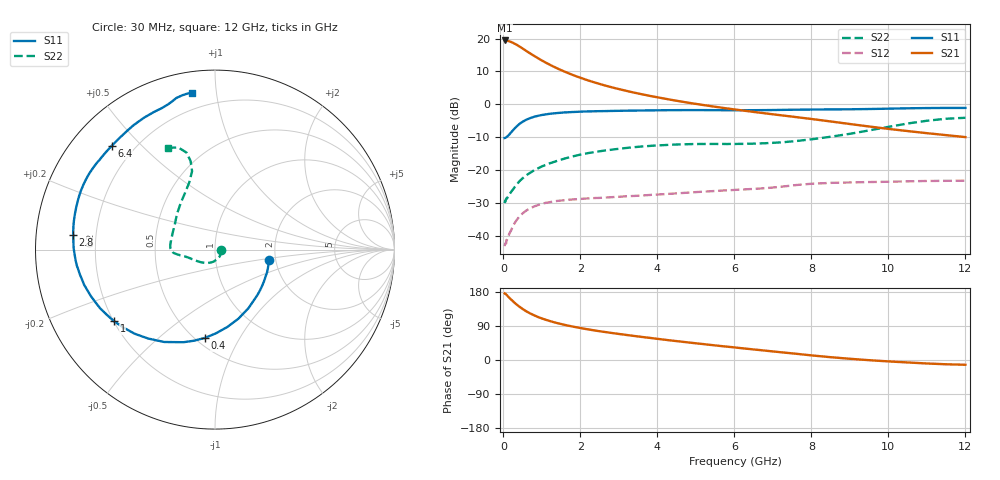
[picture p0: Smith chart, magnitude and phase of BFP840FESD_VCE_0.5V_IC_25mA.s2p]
! Infineon Technologies  Discrete & RF Semiconductors
! BFP840FESD
! VCE =  0.5 V,  IC =  25 mA
! Common Emitter S-Parameters:  May 2012
# GHz  S  MA  R  50
!  f  S11  S21  S12  S22
! GHz  MAG  ANG  MAG  ANG  MAG  ANG  MAG  ANG
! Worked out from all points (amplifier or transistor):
!   103 points, 30 MHz to 12 GHz, reference 50 ohm
!   highest |S21| = 19.4 dB at 30 MHz (marker M1)
!   |S21| within 3 dB of that: start of sweep to 569.1 MHz
!   unconditionally stable (mu >= 1): start of sweep to end of sweep
!   at 400 MHz: K = 2.58, MAG = 19.0 dB, |S12| = -34.3 dB
!   at 3.7 GHz: K = 2.89, MAG = 7.7 dB, |S12| = -27.6 dB
!   at 12 GHz: K = 3.53, MAG = -1.8 dB, |S12| = -23.2 dB
!   S11 on the Smith chart (normalised r, x): 30 MHz: 1.85, -0.23; 400 MHz: 0.56, -0.72; 1 GHz: 0.20, -0.31; 2.8 GHz: 0.11, +0.05; 6.4 GHz: 0.12, +0.41; 12 GHz: 0.11, +0.86
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0.03  0.308 -10.5  9.362 175.8  0.007 14.8  0.0316 0.7
0.04  0.3086 -13.8  9.334 174.8  0.0076 16.5  0.0336 -4.2
0.05  0.3106 -17.5  9.285 175.0  0.0077 16.7  0.0331 -9.6
0.13  0.3379 -42.0  9.166 166.6  0.0098 34.0  0.0404 -38.4
0.25  0.4064 -71.3  8.604 154.7  0.0144 42.9  0.0512 -69.3
0.35  0.4664 -89.3  8.025 145.8  0.0177 44.0  0.0607 -88.3
0.4  0.4954 -96.6  7.668 141.8  0.0193 43.3  0.0664 -95.3
0.5  0.5451 -108.8  7.05 134.5  0.0221 41.7  0.0754 -107.7
0.7  0.6198 -126.9  5.919 122.6  0.0265 37.9  0.0918 -126.4
0.9  0.6706 -139.7  5.018 113.4  0.0296 34.1  0.1069 -139.4
1  0.6901 -144.7  4.638 109.6  0.0308 32.6  0.1141 -144.3
1.2  0.7189 -153.0  4.014 103.0  0.0326 30.1  0.127 -151.9
1.4  0.739 -159.6  3.518 97.3  0.0341 27.9  0.139 -157.7
1.7  0.7598 -167.5  2.954 90.3  0.0356 25.8  0.156 -163.7
2.1  0.7784 -175.4  2.42 82.5  0.037 24.3  0.1768 -167.9
2.8  0.7946 174.0  1.827 71.5  0.0388 23.6  0.2044 -171.9
4.1  0.814 158.3  1.249 54.6  0.043 24.2  0.2394 -177.6
6.1  0.8149 138.1  0.824 32.1  0.0505 24.4  0.2509 164.6
6.4  0.8159 134.9  0.782 28.9  0.0516 24.4  0.2524 160.3
8.5  0.8388 113.9  0.55 7.4  0.0641 19.5  0.3221 126.4
10.5  0.8718 104.3  0.393 -6.5  0.0677 14.0  0.5121 105.4
12  0.8825 98.3  0.318 -12.6  0.0692 12.6  0.6256 115.0
